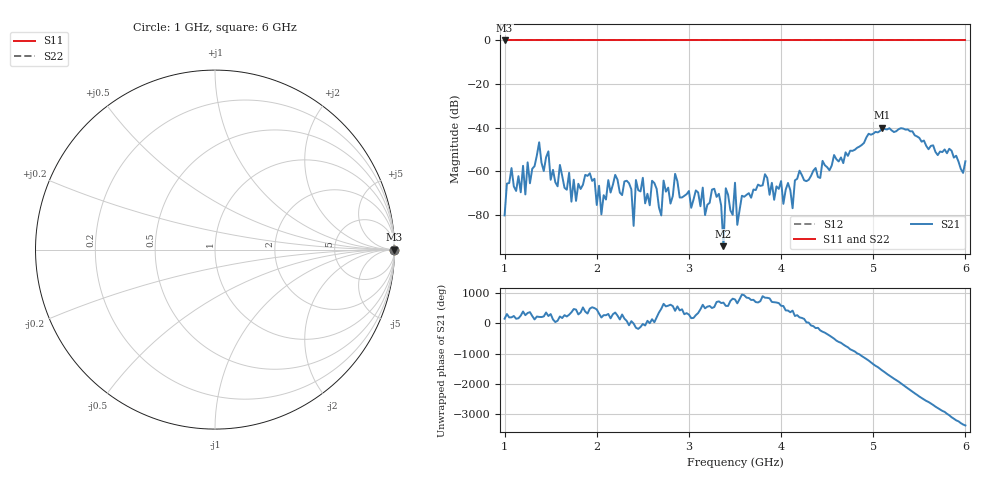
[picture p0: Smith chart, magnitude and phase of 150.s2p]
!Keysight Technologies N9926A: A.08.19
!Date: Sunday, 01 March 2026 13:44:37
!Timezone: (GMT-06:00) Central Time (US & Canada)
!Model: N9926A
!Serial: MY53102721
!GPS Latitude:
!GPS Longitude:
!GPS TimeStamp: 0001-01-01 00:00:00Z
!GPS Seconds Since Last Read: 0
!CHECKSUM:1729334959
!Correction: S11()S21(ON U)S12()S22()
!S2P File: Measurements:S11,S21,S12,S22:
# Hz S DB R 50
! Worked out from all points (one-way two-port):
!   201 points, 1 GHz to 6 GHz, reference 50 ohm
!   highest |S21| = -40.10 dB at 5.1 GHz (marker M1); lowest = -94.5 dB at 3.375 GHz (marker M2)
!   lowest |S11| = 0.0 dB at 1 GHz (marker M3)
!   |S11| at or under -10 dB: nowhere
!   |S22| runs from 0.0 to 0.0 dB; largest |S21 - S12| = 1
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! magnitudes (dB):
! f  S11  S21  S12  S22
! 1 GHz  0.0  -80.4  0.0  0.0
! 1.075 GHz  0.0  -58.6  0.0  0.0
! 1.225 GHz  0.0  -70.7  0.0  0.0
! 1.375 GHz  0.0  -46.8  0.0  0.0
! 1.725 GHz  0.0  -74.0  0.0  0.0
! 1.85 GHz  0.0  -66.3  0.0  0.0
! 2.4 GHz  0.0  -85.2  0.0  0.0
! 2.5 GHz  0.0  -63.1  0.0  0.0
! 2.675 GHz  0.0  -76.7  0.0  0.0
! 2.85 GHz  0.0  -61.3  0.0  0.0
! 3.375 GHz  0.0  -94.5  0.0  0.0
! 3.4 GHz  0.0  -67.9  0.0  0.0
! 3.475 GHz  0.0  -80.1  0.0  0.0
! 3.5 GHz  0.0  -65.4  0.0  0.0
! 3.525 GHz  0.0  -84.7  0.0  0.0
! 3.825 GHz  0.0  -61.4  0.0  0.0
! 4.125 GHz  0.0  -77.1  0.0  0.0
! 4.2 GHz  0.0  -59.8  0.0  0.0
! 4.35 GHz  0.0  -59.8  0.0  0.0
! 5.1 GHz  0.0  -40.1  0.0  0.0
! 5.175 GHz  0.0  -40.3  0.0  0.0
! 6 GHz  0.0  -55.5  0.0  0.0
